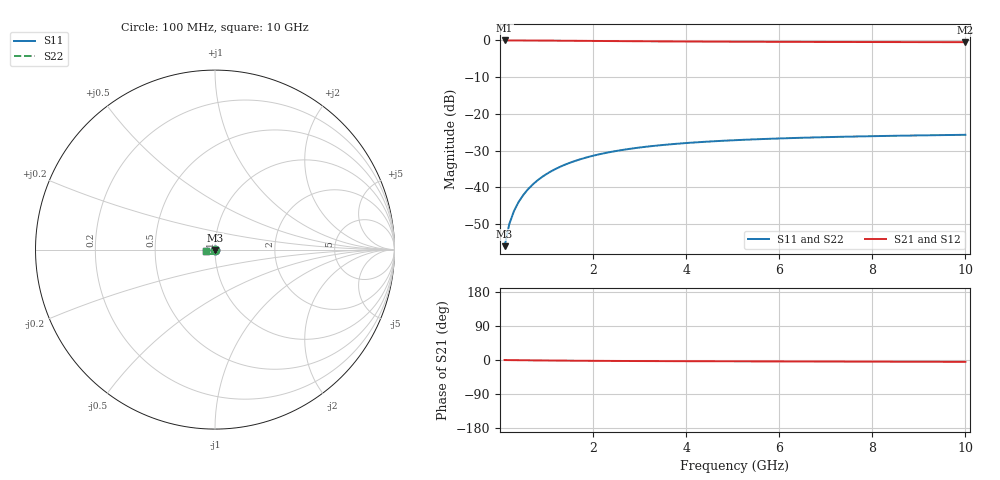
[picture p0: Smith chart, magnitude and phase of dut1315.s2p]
! Touchstone file exported from HFSS 2024.1.0
!  File:  C:/UserFiles/LocalFiles/RDL_TSV_Batchsim/temp_TSV1_1315_1780373795.aedt
!  Generated:  12:22:20 PM Jun  2, 2026
!  Design:  TSV1
!  Project:  temp_TSV1_1315_1780373795
!  Setup:  Setup1
!  Solution:  Sweep
! Variables:
!  dtsv = 13.93um
!  hbump = 3um
!  htsv = 73.83um
!  lrdl = 252.1521522um
!  p = 40
!  p1 = 55um
!  t = 500um
!  trdl = 3um
!  wrdl = 24.89489489um
# GHz S MA R 50.000000
! Terminal data exported
! Port[1] = TSV22_T1
! Port[2] = TSV22_T2
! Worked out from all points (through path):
!   100 points, 100 MHz to 10 GHz, reference 50 ohm
!   highest |S21| = 0.00 dB at 100 MHz (marker M1); lowest = -0.5 dB at 10 GHz (marker M2)
!   lowest |S11| = -56.0 dB at 100 MHz (marker M3), VSWR 1.00, Z = 50 - j0.158 ohm
!   |S11| at or under -10 dB: start of sweep to end of sweep
!   |S22| runs from -56.0 to -25.7 dB; largest |S21 - S12| = 3.4e-15
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0.1  0.001579 -89.0  0.9999 -0.1  0.9999 -0.1  0.001579 -89.0
! Gamma 0 0 0 0
! Port Impedance 50 0 50 0
0.2  0.003156 -92.2  0.9997 -0.3  0.9997 -0.3  0.003156 -92.2
0.3  0.00473 -94.4  0.9994 -0.4  0.9994 -0.4  0.00473 -94.4
0.4  0.006294 -96.5  0.999 -0.5  0.999 -0.5  0.006294 -96.5
0.5  0.007841 -98.5  0.9986 -0.7  0.9986 -0.7  0.007841 -98.5
0.6  0.009367 -100.5  0.998 -0.8  0.998 -0.8  0.009367 -100.5
0.7  0.01087 -102.4  0.9974 -0.9  0.9974 -0.9  0.01087 -102.4
0.8  0.01233 -104.2  0.9967 -1.0  0.9967 -1.0  0.01233 -104.2
0.9  0.01377 -106.1  0.9959 -1.2  0.9959 -1.2  0.01377 -106.1
1.1  0.01653 -109.6  0.9942 -1.4  0.9942 -1.4  0.01653 -109.6
1.4  0.02036 -114.6  0.9914 -1.7  0.9914 -1.7  0.02036 -114.6
1.6  0.02271 -117.7  0.9893 -1.9  0.9893 -1.9  0.02271 -117.7
1.8  0.02489 -120.6  0.9872 -2.0  0.9872 -2.0  0.02489 -120.6
2.1  0.02785 -124.7  0.9841 -2.3  0.9841 -2.3  0.02785 -124.7
2.5  0.03127 -129.7  0.98 -2.5  0.98 -2.5  0.03127 -129.7
2.9  0.03416 -134.1  0.9763 -2.7  0.9763 -2.7  0.03416 -134.1
3.4  0.03717 -138.9  0.972 -2.9  0.972 -2.9  0.03717 -138.9
4.2  0.04089 -145.4  0.9664 -3.2  0.9664 -3.2  0.04089 -145.4
5.1  0.04397 -151.4  0.9614 -3.5  0.9614 -3.5  0.04397 -151.4
6.7  0.04768 -159.7  0.9551 -4.0  0.9551 -4.0  0.04768 -159.7
8.4  0.05021 -166.4  0.9507 -4.4  0.9507 -4.4  0.05021 -166.4
10  0.05187 -171.6  0.9479 -4.9  0.9479 -4.9  0.05187 -171.6
